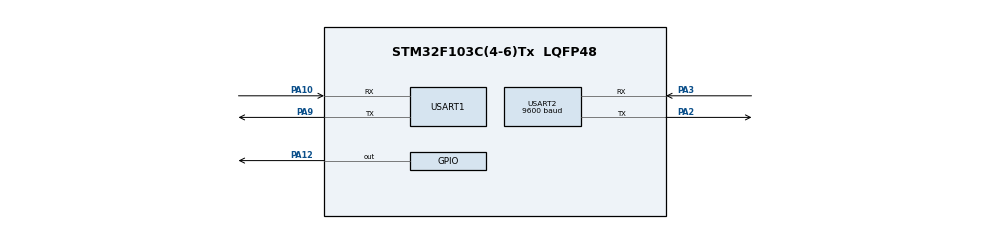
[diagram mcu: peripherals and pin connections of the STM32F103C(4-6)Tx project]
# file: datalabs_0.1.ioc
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Mcu.Family=STM32F1
Mcu.Name=STM32F103C(4-6)Tx
Mcu.Package=LQFP48
NVIC.PriorityGroup=NVIC_PRIORITYGROUP_4
NVIC.USART2_IRQn=true\:0\:0\:false\:false\:true\:true\:true
PA10.Mode=Asynchronous
PA10.Signal=USART1_RX
PA12.Signal=GPIO_Output
PA2.Mode=Asynchronous
PA2.Signal=USART2_TX
PA3.Mode=Asynchronous
PA3.Signal=USART2_RX
PA9.Mode=Asynchronous
PA9.Signal=USART1_TX
PC14-OSC32_IN.Mode=LSE-External-Oscillator
PC14-OSC32_IN.Signal=RCC_OSC32_IN
PC15-OSC32_OUT.Mode=LSE-External-Oscillator
PC15-OSC32_OUT.Signal=RCC_OSC32_OUT
PD0-OSC_IN.Mode=HSE-External-Oscillator
PD0-OSC_IN.Signal=RCC_OSC_IN
PD1-OSC_OUT.Mode=HSE-External-Oscillator
PD1-OSC_OUT.Signal=RCC_OSC_OUT
ProjectManager.HeapSize=0x200
ProjectManager.StackSize=0x400
ProjectManager.TargetToolchain=STM32CubeIDE
RCC.APB1Freq_Value=8000000
RCC.APB2Freq_Value=8000000
USART1.VirtualMode=VM_ASYNC
USART2.BaudRate=9600
USART2.VirtualMode=VM_ASYNC
VP_SYS_VS_ND.Mode=No_Debug
board=custom

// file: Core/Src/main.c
/* USER CODE BEGIN Header */
/**
 ******************************************************************************
 * @file           : main.c
 * @brief          : Main program body
 ******************************************************************************
 * @attention
 *
 * <h2><center>&copy; Copyright (c) 2022 STMicroelectronics.
 * All rights reserved.</center></h2>
 *
 * This software component is licensed by ST under BSD 3-Clause license,
 * the "License"; You may not use this file except in compliance with the
 * License. You may obtain a copy of the License at:
 *                        opensource.org/licenses/BSD-3-Clause
 *
 ******************************************************************************
 */
/* USER CODE END Header */
#include "main.h"

/* USER CODE BEGIN Includes */
#include "gsm.h"

/* USER CODE END Includes */

UART_HandleTypeDef huart1;
UART_HandleTypeDef huart2;

void SystemClock_Config(void);
static void MX_GPIO_Init(void);
static void MX_USART2_UART_Init(void);
static void MX_USART1_UART_Init(void);

int main(void)
{
  /* USER CODE BEGIN 1 */
	char * response;    	//stores response of at command
	char* loc;				//stores location
  /* USER CODE END 1 */

  /* MCU Configuration--------------------------------------------------------*/

  /* Reset of all peripherals, Initializes the Flash interface and the Systick. */
  HAL_Init();

  /* Configure the system clock */
  SystemClock_Config();

  /* Initialize all configured peripherals */
  MX_GPIO_Init();
  MX_USART2_UART_Init();
  MX_USART1_UART_Init();

  /* Infinite loop */
	while (1)
	{

    /* USER CODE BEGIN 3 */

		//Initialization sequence
		while (gsm_init() != GSM_OK);

		HAL_UART_Transmit(_DBG_UART_, (uint8_t *)"connection successful \n",24 ,HAL_TIMEOUT);

		AT_STATUS sms_status = send_sms("01064598223", "this is a msg") ;

		if(sms_status == GSM_OK){

			HAL_UART_Transmit(_DBG_UART_, (uint8_t *)"msg successful\n",16 ,HAL_TIMEOUT);
		}

		else if (sms_status == GSM_ERORR){
			HAL_UART_Transmit(_DBG_UART_, (uint8_t *)"msg error\n",11 ,HAL_TIMEOUT);
		}
		else{
			HAL_UART_Transmit(_DBG_UART_,(uint8_t *) "msg input error\n",17 ,HAL_TIMEOUT);
		}

		response = at_cmd_response("AT+test=");
		HAL_UART_Transmit(_DBG_UART_,(uint8_t *) response,10 ,HAL_TIMEOUT);

		loc = gsm_location();

		HAL_UART_Transmit(_DBG_UART_,(uint8_t *) loc,51 ,HAL_TIMEOUT);

	}
  /* USER CODE END 3 */
}

void SystemClock_Config(void)
{
  RCC_OscInitTypeDef RCC_OscInitStruct = {0};
  RCC_ClkInitTypeDef RCC_ClkInitStruct = {0};

  /** Initializes the RCC Oscillators according to the specified parameters
  * in the RCC_OscInitTypeDef structure.
  */
  RCC_OscInitStruct.OscillatorType = RCC_OSCILLATORTYPE_HSI;
  RCC_OscInitStruct.HSIState = RCC_HSI_ON;
  RCC_OscInitStruct.HSICalibrationValue = RCC_HSICALIBRATION_DEFAULT;
  RCC_OscInitStruct.PLL.PLLState = RCC_PLL_NONE;
  if (HAL_RCC_OscConfig(&RCC_OscInitStruct) != HAL_OK)
  {
    Error_Handler();
  }
  /** Initializes the CPU, AHB and APB buses clocks
  */
  RCC_ClkInitStruct.ClockType = RCC_CLOCKTYPE_HCLK|RCC_CLOCKTYPE_SYSCLK
                              |RCC_CLOCKTYPE_PCLK1|RCC_CLOCKTYPE_PCLK2;
  RCC_ClkInitStruct.SYSCLKSource = RCC_SYSCLKSOURCE_HSI;
  RCC_ClkInitStruct.AHBCLKDivider = RCC_SYSCLK_DIV1;
  RCC_ClkInitStruct.APB1CLKDivider = RCC_HCLK_DIV1;
  RCC_ClkInitStruct.APB2CLKDivider = RCC_HCLK_DIV1;

  if (HAL_RCC_ClockConfig(&RCC_ClkInitStruct, FLASH_LATENCY_0) != HAL_OK)
  {
    Error_Handler();
  }
}

static void MX_USART1_UART_Init(void)
{

  huart1.Instance = USART1;
  huart1.Init.BaudRate = 115200;
  huart1.Init.WordLength = UART_WORDLENGTH_8B;
  huart1.Init.StopBits = UART_STOPBITS_1;
  huart1.Init.Parity = UART_PARITY_NONE;
  huart1.Init.Mode = UART_MODE_TX_RX;
  huart1.Init.HwFlowCtl = UART_HWCONTROL_NONE;
  huart1.Init.OverSampling = UART_OVERSAMPLING_16;
  if (HAL_UART_Init(&huart1) != HAL_OK)
  {
    Error_Handler();
  }

}

static void MX_USART2_UART_Init(void)
{

  huart2.Instance = USART2;
  huart2.Init.BaudRate = 9600;
  huart2.Init.WordLength = UART_WORDLENGTH_8B;
  huart2.Init.StopBits = UART_STOPBITS_1;
  huart2.Init.Parity = UART_PARITY_NONE;
  huart2.Init.Mode = UART_MODE_TX_RX;
  huart2.Init.HwFlowCtl = UART_HWCONTROL_NONE;
  huart2.Init.OverSampling = UART_OVERSAMPLING_16;
  if (HAL_UART_Init(&huart2) != HAL_OK)
  {
    Error_Handler();
  }

}

static void MX_GPIO_Init(void)
{
  GPIO_InitTypeDef GPIO_InitStruct = {0};

  /* GPIO Ports Clock Enable */
  __HAL_RCC_GPIOC_CLK_ENABLE();
  __HAL_RCC_GPIOD_CLK_ENABLE();
  __HAL_RCC_GPIOA_CLK_ENABLE();

  /*Configure GPIO pin Output Level */
  HAL_GPIO_WritePin(GPIOA, GPIO_PIN_12, GPIO_PIN_RESET);

  /*Configure GPIO pin : PA12 */
  GPIO_InitStruct.Pin = GPIO_PIN_12;
  GPIO_InitStruct.Mode = GPIO_MODE_OUTPUT_PP;
  GPIO_InitStruct.Pull = GPIO_NOPULL;
  GPIO_InitStruct.Speed = GPIO_SPEED_FREQ_LOW;
  HAL_GPIO_Init(GPIOA, &GPIO_InitStruct);

}

void Error_Handler(void)
{
	__disable_irq();
	while (1)
	{
	}
}

/************************ (C) COPYRIGHT STMicroelectronics *****END OF FILE****/
